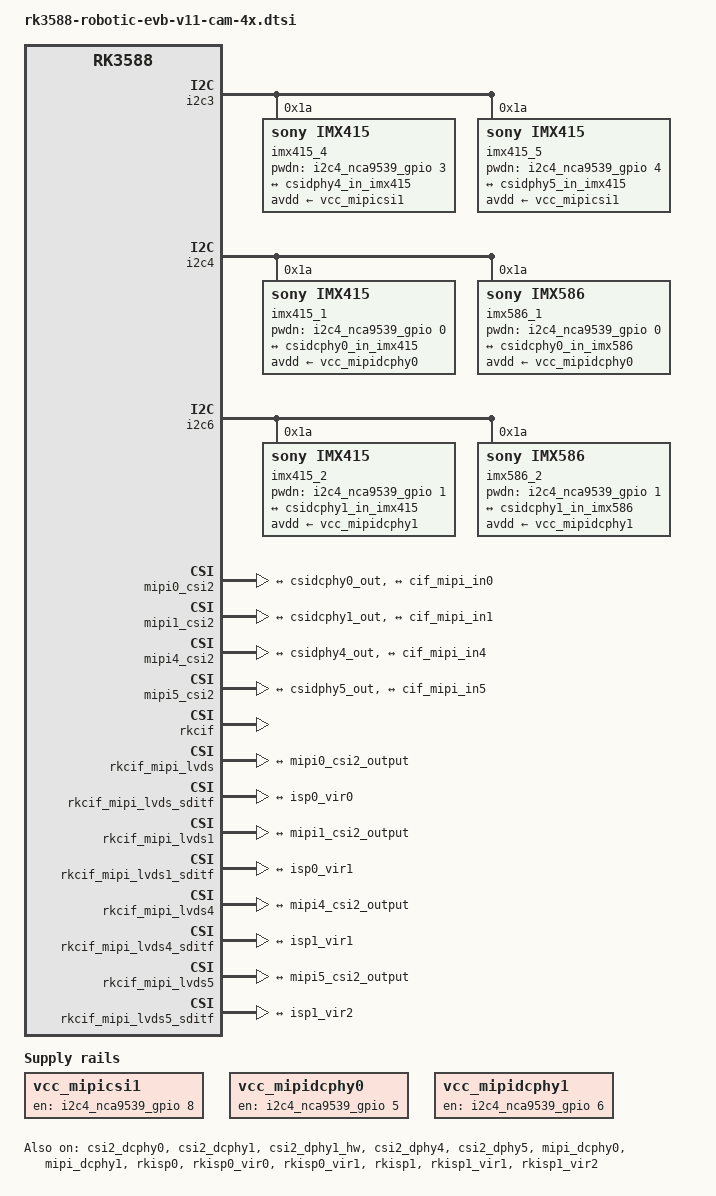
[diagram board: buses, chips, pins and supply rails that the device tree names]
// SPDX-License-Identifier: (GPL-2.0+ OR MIT)
/*
 * Copyright (c) 2025 Rockchip Electronics Co., Ltd.
 *
 */

/ {
	vcc_mipicsi1: vcc-mipicsi1-regulator {
		compatible = "regulator-fixed";
		regulator-name = "vcc_mipicsi1";
		gpio = <&i2c4_nca9539_gpio 8 GPIO_ACTIVE_HIGH>;
		regulator-boot-on;
		enable-active-high;
	};

	vcc_mipidcphy0: vcc-mipidcphy0-regulator {
		compatible = "regulator-fixed";
		regulator-name = "vcc_mipidcphy0";
		gpio = <&i2c4_nca9539_gpio 5 GPIO_ACTIVE_HIGH>;
		regulator-boot-on;
		enable-active-high;
	};

	vcc_mipidcphy1: vcc-mipidcphy1-regulator {
		compatible = "regulator-fixed";
		regulator-name = "vcc_mipidcphy1";
		gpio = <&i2c4_nca9539_gpio 6 GPIO_ACTIVE_HIGH>;
		regulator-boot-on;
		enable-active-high;
	};
};

&csi2_dcphy0 {
	status = "okay";
	ports {
		#address-cells = <1>;
		#size-cells = <0>;
		port@0 {
			reg = <0>;
			#address-cells = <1>;
			#size-cells = <0>;
			csidcphy0_in_imx415: endpoint@1 {
				reg = <1>;
				remote-endpoint = <&imx415_out1>;
				data-lanes = <1 2 3 4>;
			};
			csidcphy0_in_imx586: endpoint@2 {
				reg = <2>;
				remote-endpoint = <&imx586_out1>;
				data-lanes = <1 2 3 4>;
			};
		};
		port@1 {
			reg = <1>;
			#address-cells = <1>;
			#size-cells = <0>;
			csidcphy0_out: endpoint@0 {
				reg = <0>;
				remote-endpoint = <&mipi0_csi2_input>;
			};
		};
	};
};

&csi2_dcphy1 {
	status = "okay";
	ports {
		#address-cells = <1>;
		#size-cells = <0>;
		port@0 {
			reg = <0>;
			#address-cells = <1>;
			#size-cells = <0>;

			csidcphy1_in_imx415: endpoint@1 {
				reg = <1>;
				remote-endpoint = <&imx415_out2>;
				data-lanes = <1 2 3 4>;
			};
			csidcphy1_in_imx586: endpoint@2 {
				reg = <2>;
				remote-endpoint = <&imx586_out2>;
				data-lanes = <1 2 3 4>;
			};
		};
		port@1 {
			reg = <1>;
			#address-cells = <1>;
			#size-cells = <0>;

			csidcphy1_out: endpoint@0 {
				reg = <0>;
				remote-endpoint = <&mipi1_csi2_input>;
			};
		};
	};
};

&csi2_dphy1_hw {
	status = "okay";
};

&csi2_dphy4 {
	status = "okay";
	ports {
		#address-cells = <1>;
		#size-cells = <0>;
		port@0 {
			reg = <0>;
			#address-cells = <1>;
			#size-cells = <0>;

			csidphy4_in_imx415: endpoint@1 {
				reg = <1>;
				remote-endpoint = <&imx415_out4>;
				data-lanes = <1 2>;
			};
		};
		port@1 {
			reg = <1>;
			#address-cells = <1>;
			#size-cells = <0>;

			csidphy4_out: endpoint@0 {
				reg = <0>;
				remote-endpoint = <&mipi4_csi2_input>;
			};
		};
	};
};

&csi2_dphy5 {
	status = "okay";
	ports {
		#address-cells = <1>;
		#size-cells = <0>;
		port@0 {
			reg = <0>;
			#address-cells = <1>;
			#size-cells = <0>;

			csidphy5_in_imx415: endpoint@1 {
				reg = <1>;
				remote-endpoint = <&imx415_out5>;
				data-lanes = <3 4>;
			};
		};
		port@1 {
			reg = <1>;
			#address-cells = <1>;
			#size-cells = <0>;

			csidphy5_out: endpoint@0 {
				reg = <0>;
				remote-endpoint = <&mipi5_csi2_input>;
			};
		};
	};
};

&i2c3 {
	pinctrl-names = "default";
	pinctrl-0 = <&i2c3m0_xfer>;
	status = "okay";

	imx415_4: imx415-4@1a {
		compatible = "sony,imx415";
		reg = <0x1a>;
		clocks = <&cru CLK_MIPI_CAMARAOUT_M4>;
		clock-names = "xvclk";
		pinctrl-names = "default";
		pinctrl-0 = <&mipim0_camera4_clk>;
		power-domains = <&power RK3588_PD_VI>;
		pwdn-gpios = <&i2c4_nca9539_gpio 3 GPIO_ACTIVE_HIGH>;
		avdd-supply = <&vcc_mipicsi1>;
		rockchip,camera-module-index = <0>;
		rockchip,camera-module-facing = "back";
		rockchip,camera-module-name = "CMK-OT2022-PX1";
		rockchip,camera-module-lens-name = "IR0147-50IRC-8M-F20";
		port {
			imx415_out4: endpoint {
				remote-endpoint = <&csidphy4_in_imx415>;
				data-lanes = <1 2>;
			};
		};
	};

	imx415_5: imx415-5@1a {
		compatible = "sony,imx415";
		reg = <0x1a>;
		clocks = <&cru CLK_MIPI_CAMARAOUT_M4>;
		clock-names = "xvclk";
		pinctrl-names = "default";
		pinctrl-0 = <&mipim0_camera4_clk>;
		power-domains = <&power RK3588_PD_VI>;
		pwdn-gpios = <&i2c4_nca9539_gpio 4 GPIO_ACTIVE_HIGH>;
		avdd-supply = <&vcc_mipicsi1>;
		rockchip,camera-module-index = <0>;
		rockchip,camera-module-facing = "back";
		rockchip,camera-module-name = "CMK-OT2022-PX1";
		rockchip,camera-module-lens-name = "IR0147-50IRC-8M-F20";
		port {
			imx415_out5: endpoint {
				remote-endpoint = <&csidphy5_in_imx415>;
				data-lanes = <3 4>;
			};
		};
	};
};

&i2c4 {
	pinctrl-names = "default";
	pinctrl-0 = <&i2c4m1_xfer>;
	status = "okay";

	imx415_1: imx415-1@1a {
		compatible = "sony,imx415";
		reg = <0x1a>;
		clocks = <&cru CLK_MIPI_CAMARAOUT_M1>;
		clock-names = "xvclk";
		pinctrl-names = "default";
		pinctrl-0 = <&mipim0_camera1_clk>;
		power-domains = <&power RK3588_PD_VI>;
		pwdn-gpios = <&i2c4_nca9539_gpio 0 GPIO_ACTIVE_HIGH>;
		avdd-supply = <&vcc_mipidcphy0>;
		rockchip,camera-module-index = <0>;
		rockchip,camera-module-facing = "back";
		rockchip,camera-module-name = "CMK-OT2022-PX1";
		rockchip,camera-module-lens-name = "IR0147-50IRC-8M-F20";
		port {
			imx415_out1: endpoint {
				remote-endpoint = <&csidcphy0_in_imx415>;
				data-lanes = <1 2 3 4>;
			};
		};
	};

	imx586_1: imx586-1@1a {
		compatible = "sony,imx586";
		reg = <0x1a>;
		clocks = <&cru CLK_MIPI_CAMARAOUT_M1>;
		clock-names = "xvclk";
		pinctrl-names = "default";
		pinctrl-0 = <&mipim0_camera1_clk>;
		power-domains = <&power RK3588_PD_VI>;
		pwdn-gpios = <&i2c4_nca9539_gpio 0 GPIO_ACTIVE_HIGH>;
		avdd-supply = <&vcc_mipidcphy0>;
		rockchip,camera-module-index = <0>;
		rockchip,camera-module-facing = "back";
		rockchip,camera-module-name = "default";
		rockchip,camera-module-lens-name = "default";
		port {
			imx586_out1: endpoint {
				remote-endpoint = <&csidcphy0_in_imx586>;
				data-lanes = <1 2 3 4>;
			};
		};
	};
};

&i2c6 {
	pinctrl-names = "default";
	pinctrl-0 = <&i2c6m0_xfer>;
	status = "okay";

	imx415_2: imx415-2@1a {
		compatible = "sony,imx415";
		reg = <0x1a>;
		clocks = <&cru CLK_MIPI_CAMARAOUT_M2>;
		clock-names = "xvclk";
		pinctrl-names = "default";
		pinctrl-0 = <&mipim0_camera2_clk>;
		power-domains = <&power RK3588_PD_VI>;
		pwdn-gpios = <&i2c4_nca9539_gpio 1 GPIO_ACTIVE_HIGH>;
		avdd-supply = <&vcc_mipidcphy1>;
		rockchip,camera-module-index = <0>;
		rockchip,camera-module-facing = "back";
		rockchip,camera-module-name = "CMK-OT2022-PX1";
		rockchip,camera-module-lens-name = "IR0147-50IRC-8M-F20";
		port {
			imx415_out2: endpoint {
				remote-endpoint = <&csidcphy1_in_imx415>;
				data-lanes = <1 2 3 4>;
			};
		};
	};

	imx586_2: imx586-2@1a {
		compatible = "sony,imx586";
		reg = <0x1a>;
		clocks = <&cru CLK_MIPI_CAMARAOUT_M2>;
		clock-names = "xvclk";
		pinctrl-names = "default";
		pinctrl-0 = <&mipim0_camera2_clk>;
		power-domains = <&power RK3588_PD_VI>;
		pwdn-gpios = <&i2c4_nca9539_gpio 1 GPIO_ACTIVE_HIGH>;
		avdd-supply = <&vcc_mipidcphy1>;
		rockchip,camera-module-index = <0>;
		rockchip,camera-module-facing = "back";
		rockchip,camera-module-name = "default";
		rockchip,camera-module-lens-name = "default";
		port {
			imx586_out2: endpoint {
				remote-endpoint = <&csidcphy1_in_imx586>;
				data-lanes = <1 2 3 4>;
			};
		};
	};
};

&isp0_mmu {
	status = "okay";
};

&isp1_mmu {
	status = "okay";
};

&mipi0_csi2 {
	status = "okay";
	ports {
		#address-cells = <1>;
		#size-cells = <0>;
		port@0 {
			reg = <0>;
			#address-cells = <1>;
			#size-cells = <0>;

			mipi0_csi2_input: endpoint@1 {
				reg = <1>;
				remote-endpoint = <&csidcphy0_out>;
			};
		};
		port@1 {
			reg = <1>;
			#address-cells = <1>;
			#size-cells = <0>;

			mipi0_csi2_output: endpoint@0 {
				reg = <0>;
				remote-endpoint = <&cif_mipi_in0>;
			};
		};
	};
};

&mipi1_csi2 {
	status = "okay";
	ports {
		#address-cells = <1>;
		#size-cells = <0>;
		port@0 {
			reg = <0>;
			#address-cells = <1>;
			#size-cells = <0>;

			mipi1_csi2_input: endpoint@1 {
				reg = <1>;
				remote-endpoint = <&csidcphy1_out>;
			};
		};
		port@1 {
			reg = <1>;
			#address-cells = <1>;
			#size-cells = <0>;

			mipi1_csi2_output: endpoint@0 {
				reg = <0>;
				remote-endpoint = <&cif_mipi_in1>;
			};
		};
	};
};

&mipi4_csi2 {
	status = "okay";
	ports {
		#address-cells = <1>;
		#size-cells = <0>;
		port@0 {
			reg = <0>;
			#address-cells = <1>;
			#size-cells = <0>;

			mipi4_csi2_input: endpoint@1 {
				reg = <1>;
				remote-endpoint = <&csidphy4_out>;
			};
		};
		port@1 {
			reg = <1>;
			#address-cells = <1>;
			#size-cells = <0>;

			mipi4_csi2_output: endpoint@0 {
				reg = <0>;
				remote-endpoint = <&cif_mipi_in4>;
			};
		};
	};
};

&mipi5_csi2 {
	status = "okay";
	ports {
		#address-cells = <1>;
		#size-cells = <0>;
		port@0 {
			reg = <0>;
			#address-cells = <1>;
			#size-cells = <0>;

			mipi5_csi2_input: endpoint@1 {
				reg = <1>;
				remote-endpoint = <&csidphy5_out>;
			};
		};
		port@1 {
			reg = <1>;
			#address-cells = <1>;
			#size-cells = <0>;

			mipi5_csi2_output: endpoint@0 {
				reg = <0>;
				remote-endpoint = <&cif_mipi_in5>;
			};
		};
	};
};

&mipi_dcphy0 {
	status = "okay";
};

&mipi_dcphy1 {
	status = "okay";
};

&rkcif {
	status = "okay";
};

&rkcif_mipi_lvds {
	status = "okay";
	port {
		cif_mipi_in0: endpoint {
			remote-endpoint = <&mipi0_csi2_output>;
		};
	};
};

&rkcif_mipi_lvds_sditf {
	status = "okay";
	port {
		mipi_lvds_sditf: endpoint {
			remote-endpoint = <&isp0_vir0>;
		};
	};
};

&rkcif_mipi_lvds1 {
	status = "okay";
	port {
		cif_mipi_in1: endpoint {
			remote-endpoint = <&mipi1_csi2_output>;
		};
	};
};

&rkcif_mipi_lvds1_sditf {
	status = "okay";
	port {
		mipi_lvds1_sditf: endpoint {
			remote-endpoint = <&isp0_vir1>;
		};
	};
};

&rkcif_mipi_lvds4 {
	status = "okay";
	port {
		cif_mipi_in4: endpoint {
			remote-endpoint = <&mipi4_csi2_output>;
		};
	};
};

&rkcif_mipi_lvds4_sditf {
	status = "okay";
	port {
		mipi_lvds4_sditf: endpoint {
			remote-endpoint = <&isp1_vir1>;
		};
	};
};


&rkcif_mipi_lvds5 {
	status = "okay";
	port {
		cif_mipi_in5: endpoint {
			remote-endpoint = <&mipi5_csi2_output>;
		};
	};
};

&rkcif_mipi_lvds5_sditf {
	status = "okay";
	port {
		mipi_lvds5_sditf: endpoint {
			remote-endpoint = <&isp1_vir2>;
		};
	};
};

&rkcif_mmu {
	status = "okay";
};

&rkisp0 {
	status = "okay";
};

&rkisp0_vir0 {
	status = "okay";
	port {
		#address-cells = <1>;
		#size-cells = <0>;

		isp0_vir0: endpoint@0 {
			reg = <0>;
			remote-endpoint = <&mipi_lvds_sditf>;
		};
	};
};

&rkisp0_vir1 {
	status = "okay";
	port {
		#address-cells = <1>;
		#size-cells = <0>;

		isp0_vir1: endpoint@0 {
			reg = <0>;
			remote-endpoint = <&mipi_lvds1_sditf>;
		};
	};
};

&rkisp1 {
	status = "okay";
};

&rkisp1_vir1 {
	status = "okay";
	port {
		#address-cells = <1>;
		#size-cells = <0>;

		isp1_vir1: endpoint@0 {
			reg = <0>;
			remote-endpoint = <&mipi_lvds4_sditf>;
		};
	};
};

&rkisp1_vir2 {
	status = "okay";
	port {
		#address-cells = <1>;
		#size-cells = <0>;

		isp1_vir2: endpoint@0 {
			reg = <0>;
			remote-endpoint = <&mipi_lvds5_sditf>;
		};
	};
};

